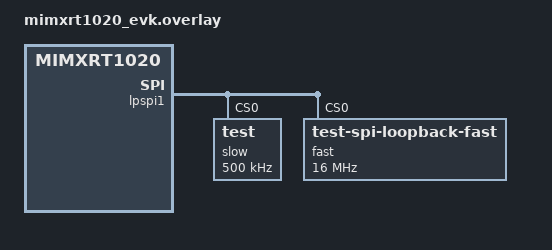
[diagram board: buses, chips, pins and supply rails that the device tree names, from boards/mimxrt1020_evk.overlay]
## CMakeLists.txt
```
# SPDX-License-Identifier: Apache-2.0

cmake_minimum_required(VERSION 3.20.0)

find_package(Zephyr REQUIRED HINTS $ENV{ZEPHYR_BASE})
project(zephyr_spi_basic_setup)


target_sources(app PRIVATE src/main.c)
```

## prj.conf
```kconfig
CONFIG_BOOT_BANNER=y
CONFIG_SPI=y
CONFIG_SPI_ASYNC=y
CONFIG_SPI_LOG_LEVEL_INF=y

CONFIG_THREAD_NAME=y
CONFIG_SCHED_CPU_MASK=y
CONFIG_THREAD_ANALYZER=y
```

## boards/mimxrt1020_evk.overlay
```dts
/*
 * Copyright (c) 2022 Kumar Gala <galak@kernel.org>
 *
 * SPDX-License-Identifier: Apache-2.0
 */

&lpspi1 {
	slow@0 {
		compatible = "test";
		reg = <0>;
		spi-max-frequency = <500000>;
	};
	fast@0 {
		compatible = "test-spi-loopback-fast";
		reg = <0>;
		spi-max-frequency = <16000000>;
	};
};
```

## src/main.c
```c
#include <zephyr/kernel.h>
#include <zephyr/sys/printk.h>
#include <zephyr/drivers/spi.h>
#include <zephyr/drivers/gpio.h>

#define SPI_DEV DT_COMPAT_GET_ANY_STATUS_OKAY(test)
#define SPI_OP SPI_OP_MODE_MASTER | SPI_MODE_CPOL | SPI_MODE_CPHA | SPI_WORD_SET(8) | SPI_LINES_SINGLE

uint8_t my_buffer[4] = {1, 0, 1, 0};
uint8_t ret;
struct spi_buf my_spi_buffer[1];
const struct spi_buf_set tx_buff = {my_spi_buffer, 1};

struct spi_dt_spec spi_com = SPI_DT_SPEC_GET(SPI_DEV, SPI_OP, 0);

void main(void)
{

    printk("Hi");
    my_spi_buffer[0].buf = my_buffer;
    my_spi_buffer[0].len = 4;

    while (true)
    {

        ret = spi_write_dt(&spi_com, &tx_buff);

        if (ret)
        {
            printk("spi write failed");
            break;
        }
    }
}
```
